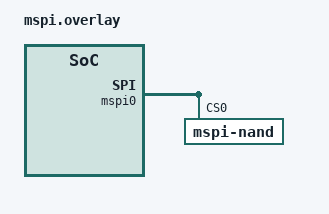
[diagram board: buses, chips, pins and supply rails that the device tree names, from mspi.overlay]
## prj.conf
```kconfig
CONFIG_FLASH=y
CONFIG_GPIO=y
```

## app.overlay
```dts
/*
 * Copyright (c) 2024 TOKITA Hiroshi
 * SPDX-License-Identifier: Apache-2.0
 */

/ {
	test {
		#address-cells = <1>;
		#size-cells = <1>;

		test_spi: spi@33334444 {
			compatible = "vnd,spi";
			reg = <0x33334444 0x1000>;
			#address-cells = <1>;
			#size-cells = <0>;
			clock-frequency = <2000000>;

			/* one entry for every devices at spi.dtsi */
			cs-gpios = <&test_gpio 0 0>,
				   <&test_gpio 0 0>,
				   <&test_gpio 0 0>,
				   <&test_gpio 0 0>,
				   <&test_gpio 0 0>,
				   <&test_gpio 0 0>;
			status = "okay";

#include "spi.dtsi"
		};

		test_gpio: gpio@deadbeef {
			compatible = "vnd,gpio";
			reg = <0xdeadbeef 0x1000>;
			gpio-controller;
			#gpio-cells = <0x2>;
			status = "okay";
		};
	};
};
```

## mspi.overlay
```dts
/*
 * Copyright The Zephyr Project Contributors
 * SPDX-License-Identifier: Apache-2.0
 */

&mspi0 {
	mspi-nand@0 {
		compatible = "jedec,mspi-nand";
		reg = <0>;
		mspi-io-mode = "MSPI_IO_MODE_SINGLE";
		mspi-data-rate = "MSPI_DATA_RATE_SINGLE";
		mspi-max-frequency = <DT_FREQ_M(50)>;

		/* w25n01gv parameters */
		jedec-id = [ef aa 21];
		size-bytes = <DT_SIZE_M(128)>;
		plane-bytes = <DT_SIZE_M(128)>;
		erase-block-size = <DT_SIZE_K(128)>;
		write-block-size = <DT_SIZE_K(2)>;
		block-erase-duration-max = <10000>;
		page-program-duration-max = <700>;
		page-read-duration-max = <200>;
		reset-duration-max = <500>;

		status = "okay";
	};
};
```

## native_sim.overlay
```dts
/*
 * Copyright (c) 2024 TOKITA Hiroshi
 * SPDX-License-Identifier: Apache-2.0
 */

/ {
	test {
		#address-cells = <1>;
		#size-cells = <1>;

		test_gpio: gpio@deadbeef {
			compatible = "vnd,gpio";
			gpio-controller;
			reg = <0xdeadbeef 0x1000>;
			#gpio-cells = <0x2>;
			status = "okay";
		};

		test_spi: spi@33334444 {
			#address-cells = <1>;
			#size-cells = <0>;
			compatible = "vnd,spi";
			reg = <0x33334444 0x1000>;
			status = "okay";
			clock-frequency = <2000000>;

			/* one entry for every devices at native_sim_spi.dtsi */
			cs-gpios = <&test_gpio 0 0>,
				   <&test_gpio 0 0>,
				   <&test_gpio 0 0>,
				   <&test_gpio 0 0>,
				   <&test_gpio 0 0>;

			#include "native_sim_spi.dtsi"
		};
	};
};
```

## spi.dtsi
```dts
/*
 * Copyright (c) 2024 TOKITA Hiroshi
 * SPDX-License-Identifier: Apache-2.0
 */

at45@0 {
	compatible = "atmel,at45";
	reg = <0x0>;
	spi-max-frequency = <5000000>;
	jedec-id = [00 11 22];
	size = <1048576>;
	sector-size = <1>;
	sector-0a-pages = <1>;
	block-size = <1>;
	page-size = <1>;
	status = "okay";
};

spi-nor@1 {
	compatible = "jedec,spi-nor";
	reg = <0x1>;
	spi-max-frequency = <5000000>;
	size = <1048576>;
	jedec-id = [00 11 22];
	status = "okay";
};

at25xv021a@2 {
	compatible = "atmel,at25xv021a";
	reg = <0x2>;
	spi-max-frequency = <5000000>;
	jedec-id = [00 11 22];
	size = <262144>;
	page-size = <1>;
	timeout = <1>;
	timeout-erase = <1>;
	status = "okay";
};

s3axx04@3 {
	compatible = "netsol,s3axx04";
	reg = <3>;
	spi-max-frequency = <54000000>;
	size = <DT_SIZE_M(2)>;
	status = "okay";
};

spi-nand@4 {
	compatible = "jedec,spi-nand";
	reg = <0x4>;
	spi-max-frequency = <5000000>;
	/* mt29f4g01 parameters */
	jedec-id = [2c 35];
	size-bytes = <536870912>;
	plane-bytes = <536870912>;
	erase-block-size = <262144>;
	write-block-size = <4096>;
	block-erase-duration-max = <10000>;
	page-program-duration-max = <600>;
	page-read-duration-max = <200>;
	reset-duration-max = <500>;
	status = "okay";
};
```

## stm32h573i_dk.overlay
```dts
/*
 * Copyright (c) 2025 Endress+Hauser GmbH+Co. KG
 *
 * SPDX-License-Identifier: Apache-2.0
 */

&fmc {
	nand-controller {
		compatible = "st,stm32-fmc-nand";
		status = "okay";

		#address-cells = <1>;
		#size-cells = <0>;

		page-buffer-size = <1>;

		mt29f4g08@3 {
			compatible = "micron,mt29f4g08";
			status = "okay";
			reg = <3>;

			page-size = <1>;
			spare-area-size = <1>;
			block-size = <2>;
			plane-size = <4>;
			flash-size = <8>;
		};
	};
};
```

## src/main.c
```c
/*
 * Copyright (c) 2024 TOKITA Hiroshi
 * SPDX-License-Identifier: Apache-2.0
 */

/* It is okay if main() is not included since just checking the build. */
```
